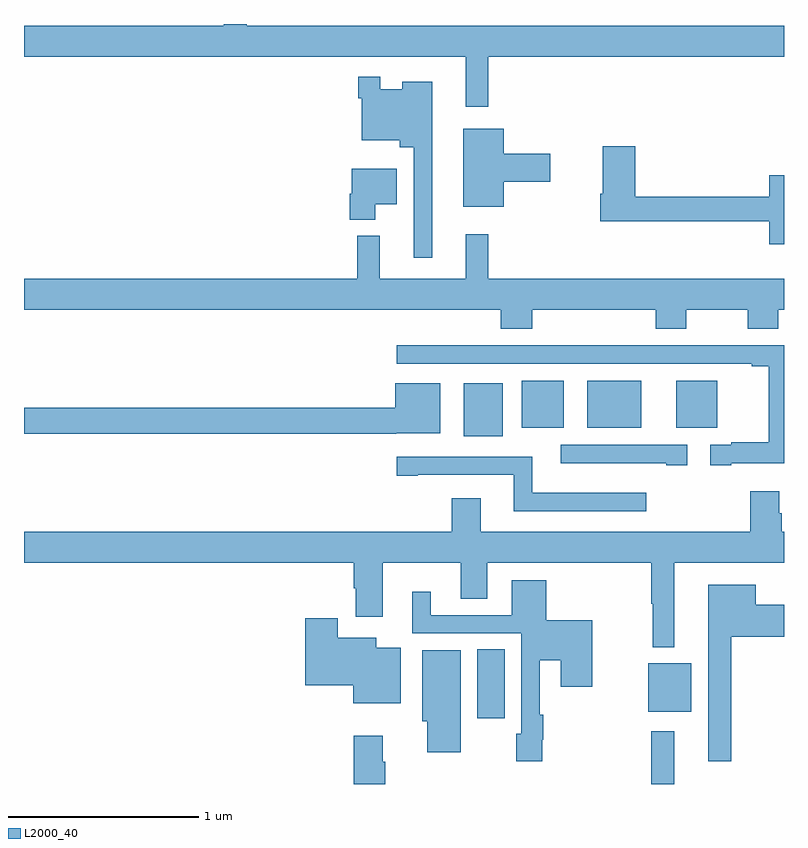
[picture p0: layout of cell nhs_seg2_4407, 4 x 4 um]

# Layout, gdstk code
import gdstk
lib = gdstk.Library(unit=1e-6, precision=1e-09)
def R(c, l, rs):  # rectangles x0, y0, x1, y1
    for r in rs: c.add(gdstk.rectangle(r[:2], r[2:], *l))
def P(c, l, *ps):  # polygons
    for p in ps: c.add(gdstk.Polygon(p, *l))
L2000_40 = (2000, 40)

nhs_seg2_4407 = lib.new_cell('nhs_seg2_4407')
R(nhs_seg2_4407, L2000_40, [(352.302,651.8,352.423,652.078), (351.386,652.146,351.529,652.508), (352.286,652.181,352.513,652.435), (351.314,653.63,351.52,653.908), (351.62,653.675,351.841,653.923), (351.965,653.675,352.249,653.923), (352.433,653.675,352.648,653.923)])
P(nhs_seg2_4407, L2000_40, [(351.443,655.628),(353,655.628),(353,655.792),(350.173,655.792),(350.173,655.8),(350.051,655.8),(350.051,655.792),(349,655.792),(349,655.628),(351.326,655.628),(351.326,655.365),(351.443,655.365)],
  [(351.148,655.495),(350.99,655.495),(350.99,655.456),(350.874,655.456),(350.874,655.522),(350.758,655.522),(350.758,655.409),(350.778,655.409),(350.778,655.187),(350.978,655.187),(350.978,655.151),(351.051,655.151),(351.051,654.57),(351.148,654.57)],
  [(351.526,654.971),(351.769,654.971),(351.769,655.118),(351.526,655.118),(351.526,655.249),(351.311,655.249),(351.311,654.839),(351.526,654.839)],
  [(353,655.003),(352.922,655.003),(352.922,654.89),(352.217,654.89),(352.217,655.156),(352.046,655.156),(352.046,654.907),(352.034,654.907),(352.034,654.762),(352.922,654.762),(352.922,654.642),(353,654.642)],
  [(350.848,654.851),(350.962,654.851),(350.962,655.039),(350.726,655.039),(350.726,654.906),(350.714,654.906),(350.714,654.77),(350.848,654.77)],
  [(351.674,654.296),(352.325,654.296),(352.325,654.197),(352.485,654.197),(352.485,654.296),(352.81,654.296),(352.81,654.197),(352.97,654.197),(352.97,654.296),(353,654.296),(353,654.46),(351.443,654.46),(351.443,654.694),(351.326,654.694),(351.326,654.46),(350.873,654.46),(350.873,654.685),(350.755,654.685),(350.755,654.46),(349,654.46),(349,654.296),(351.509,654.296),(351.509,654.197),(351.674,654.197)],
  [(352.723,653.489),(353,653.489),(353,654.108),(352.721,654.108),(352.721,654.11),(352.573,654.11),(352.573,654.108),(352.241,654.108),(352.241,654.11),(351.757,654.11),(351.757,654.108),(351.425,654.108),(351.425,654.11),(350.961,654.11),(350.961,654.012),(352.829,654.012),(352.829,654),(352.921,654),(352.921,653.599),(352.723,653.599),(352.723,653.586),(352.611,653.586),(352.611,653.478),(352.723,653.478)],
  [(350.958,653.645),(351.19,653.645),(351.19,653.908),(350.954,653.908),(350.954,653.78),(349,653.78),(349,653.644),(350.958,653.644)],
  [(352.492,653.586),(351.825,653.586),(351.825,653.489),(352.379,653.489),(352.379,653.478),(352.492,653.478)],
  [(352.276,653.332),(351.676,653.332),(351.676,653.523),(350.961,653.523),(350.961,653.422),(351.073,653.422),(351.073,653.427),(351.578,653.427),(351.578,653.235),(352.276,653.235)],
  [(349,652.964),(350.735,652.964),(350.735,652.83),(350.747,652.83),(350.747,652.68),(350.887,652.68),(350.887,652.964),(351.299,652.964),(351.299,652.774),(351.439,652.774),(351.439,652.964),(352.302,652.964),(352.302,652.748),(352.309,652.748),(352.309,652.52),(352.423,652.52),(352.423,652.964),(353,652.964),(353,653.128),(352.988,653.128),(352.988,653.226),(352.975,653.226),(352.975,653.341),(352.823,653.341),(352.823,653.128),(351.403,653.128),(351.403,653.305),(351.251,653.305),(351.251,653.128),(349,653.128)],
  [(351.727,652.033),(351.734,652.033),(351.734,652.165),(351.714,652.165),(351.714,652.451),(351.824,652.451),(351.824,652.311),(351.99,652.311),(351.99,652.663),(351.748,652.663),(351.748,652.873),(351.566,652.873),(351.566,652.689),(351.142,652.689),(351.142,652.813),(351.044,652.813),(351.044,652.593),(351.618,652.593),(351.618,652.065),(351.592,652.065),(351.592,651.921),(351.727,651.921)],
  [(352.723,652.574),(353,652.574),(353,652.744),(352.852,652.744),(352.852,652.849),(352.601,652.849),(352.601,651.921),(352.723,651.921)],
  [(350.983,652.516),(350.854,652.516),(350.854,652.57),(350.65,652.57),(350.65,652.672),(350.48,652.672),(350.48,652.319),(350.732,652.319),(350.732,652.226),(350.983,652.226)],
  [(351.298,652.504),(351.095,652.504),(351.095,652.131),(351.122,652.131),(351.122,651.968),(351.298,651.968)],
  [(350.9,651.917),(350.887,651.917),(350.887,652.054),(350.735,652.054),(350.735,651.8),(350.9,651.8)])

lib.write_gds('nhs_seg2_4407.gds')
